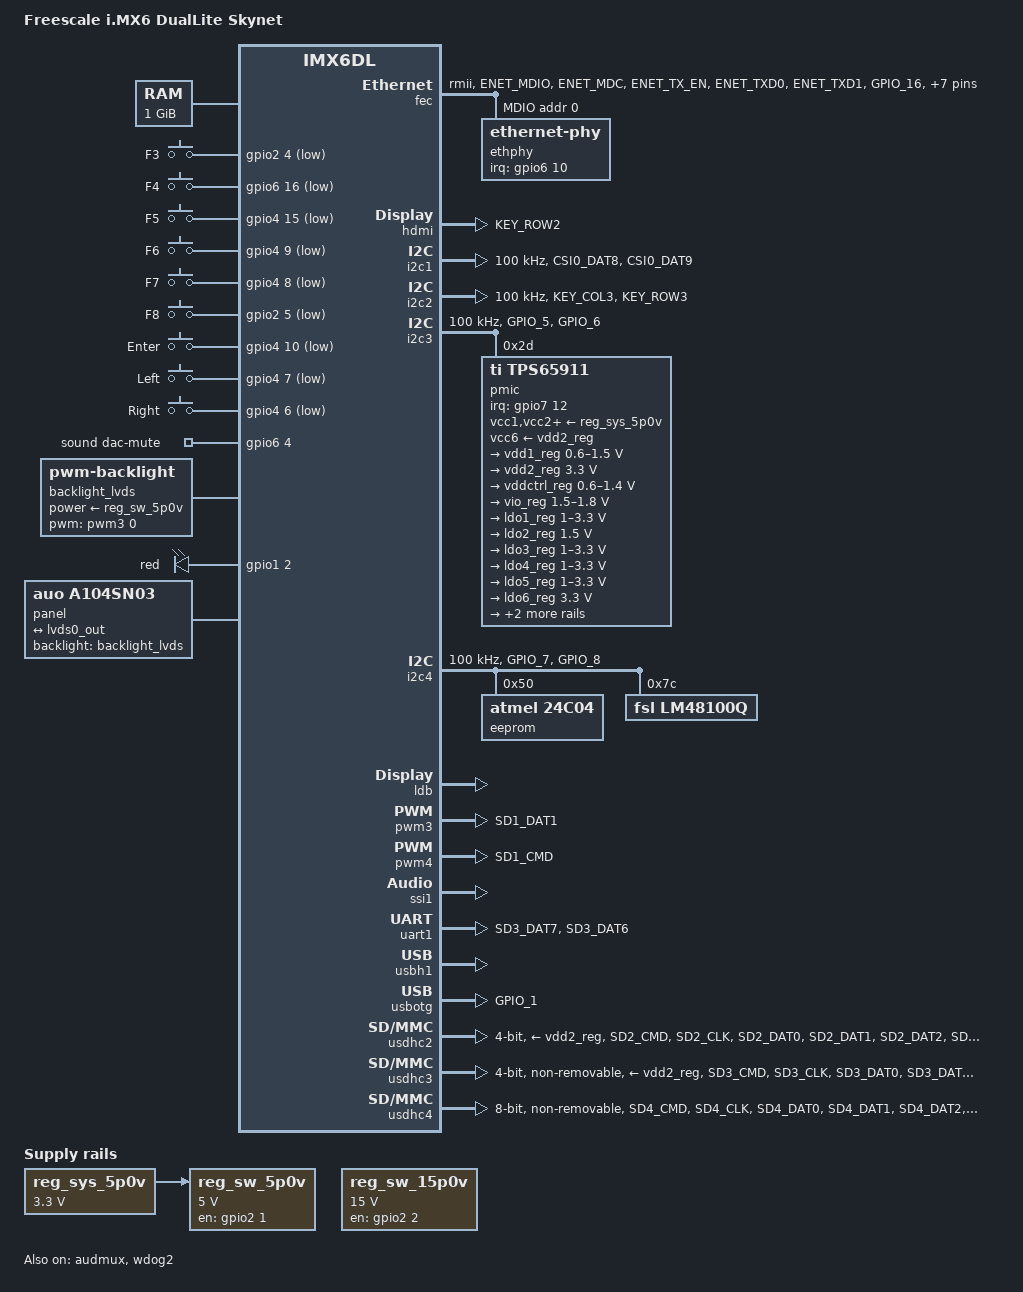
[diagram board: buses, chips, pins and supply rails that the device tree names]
/*
 * Copyright (C) 2018 xlongfeng <xlongfeng@126.com>
 *
 * This program is free software; you can redistribute it and/or modify
 * it under the terms of the GNU General Public License version 2 as
 * published by the Free Software Foundation.
 */

/dts-v1/;

#include <dt-bindings/clock/imx6qdl-clock.h>
#include <dt-bindings/gpio/gpio.h>
#include <dt-bindings/input/input.h>
#include "imx6dl.dtsi"

/ {
	model = "Freescale i.MX6 DualLite Skynet";
	compatible = "fsl,imx6dl-sabresd", "fsl,imx6dl";

	chosen {
		stdout-path = &uart1;
	};

	memory {
		reg = <0x10000000 0x40000000>;
	};

	regulators {
		compatible = "simple-bus";
		#address-cells = <1>;
		#size-cells = <0>;

		reg_sys_5p0v: regulator@0 {
			compatible = "regulator-fixed";
			reg = <0>;
			regulator-name = "sys_5p0v";
			regulator-min-microvolt = <3300000>;
			regulator-max-microvolt = <3300000>;
			regulator-always-on;
		};

		reg_sw_5p0v: regulator@1 {
			compatible = "regulator-fixed";
			reg = <1>;
			pinctrl-names = "default";
			pinctrl-0 = <&pinctrl_reg_5p0v>;
			regulator-name = "sw_5p0v";
			regulator-min-microvolt = <5000000>;
			regulator-max-microvolt = <5000000>;
			regulator-boot-on;
			gpio = <&gpio2 1 GPIO_ACTIVE_HIGH>;
			enable-active-high;
			vin-supply = <&reg_sys_5p0v>;
		};

		reg_sw_15p0v: regulator@2 {
			compatible = "regulator-fixed";
			reg = <2>;
			pinctrl-names = "default";
			pinctrl-0 = <&pinctrl_reg_15p0v>;
			regulator-name = "sw_15p0v";
			regulator-min-microvolt = <15000000>;
			regulator-max-microvolt = <15000000>;
			gpio = <&gpio2 2 GPIO_ACTIVE_HIGH>;
			enable-active-high;
		};
	};

	gpio-keys {
		compatible = "gpio-keys";
		pinctrl-names = "default";
		pinctrl-0 = <&pinctrl_gpio_keys>;

		f3 {
			label = "F3";
			gpios = <&gpio2 4 GPIO_ACTIVE_LOW>;
			linux,code = <KEY_F3>;
		};

		f4 {
			label = "F4";
			gpios = <&gpio6 16 GPIO_ACTIVE_LOW>;
			linux,code = <KEY_F4>;
		};

		f5 {
			label = "F5";
			gpios = <&gpio4 15 GPIO_ACTIVE_LOW>;
			linux,code = <KEY_F5>;
		};

		f6 {
			label = "F6";
			gpios = <&gpio4 9 GPIO_ACTIVE_LOW>;
			linux,code = <KEY_F6>;
			gpio-key,wakeup;
		};

		f7 {
			label = "F7";
			gpios = <&gpio4 8 GPIO_ACTIVE_LOW>;
			linux,code = <KEY_F7>;
		};

		f8 {
			label = "F8";
			gpios = <&gpio2 5 GPIO_ACTIVE_LOW>;
			linux,code = <KEY_F8>;
		};

		enter {
			label = "Enter";
			gpios = <&gpio4 10 GPIO_ACTIVE_LOW>;
			linux,code = <KEY_ENTER>;
		};

		left {
			label = "Left";
			gpios = <&gpio4 7 GPIO_ACTIVE_LOW>;
			linux,code = <KEY_LEFT>;
			disc,left;
			debounce-interval = <0>;
		};

		right {
			label = "Right";
			gpios = <&gpio4 6 GPIO_ACTIVE_LOW>;
			linux,code = <KEY_RIGHT>;
			disc,right;
			debounce-interval = <0>;
		};
	};

	sound {
		compatible = "fsl,imx-audio-pcm1754";
		model = "imx6q-skynet-pcm1754";
		ssi-controller = <&ssi1>;
		audio-codec = <&lm48100q>;
		audio-routing = "Ext Spk", "OUT";
		mux-int-port = <1>;
		mux-ext-port = <3>;
		dac-mute-gpios = <&gpio6 4 GPIO_ACTIVE_HIGH>;
	};

	backlight_lvds: backlight-lvds {
		compatible = "pwm-backlight";
		pwms = <&pwm3 0 5000000>;
		brightness-levels = <0 4 8 16 32 64 128 255>;
		default-brightness-level = <7>;
		power-supply = <&reg_sw_5p0v>;
		status = "okay";
	};

	leds {
		compatible = "gpio-leds";
		pinctrl-names = "default";
		pinctrl-0 = <&pinctrl_gpio_leds>;

		red {
			gpios = <&gpio1 2 0>;
			default-state = "on";
		};
	};

	panel {
		compatible = "auo,a104sn03";
		backlight = <&backlight_lvds>;

		port {
			panel_in: endpoint {
				remote-endpoint = <&lvds0_out>;
			};
		};
	};
};

&audmux {
	pinctrl-names = "default";
	pinctrl-0 = <&pinctrl_audmux>;
	status = "okay";
};

&clks {
	assigned-clocks = <&clks IMX6QDL_CLK_LDB_DI0_SEL>,
			  <&clks IMX6QDL_CLK_LDB_DI1_SEL>;
	assigned-clock-parents = <&clks IMX6QDL_CLK_PLL2_PFD0_352M>,
				 <&clks IMX6QDL_CLK_PLL2_PFD0_352M>;
};

&fec {
	pinctrl-names = "default";
	pinctrl-0 = <&pinctrl_enet>;
	phy-mode = "rmii";
	phy-reset-gpios = <&gpio1 23 GPIO_ACTIVE_LOW>;
	phy-reset-duraion = <2>;
	status = "okay";

	mdio {
		#address-cells = <0>;
		#size-cells = <1>;

		ethphy: ethernet-phy {
			reg = <0>;
			interrupts-extended = <&gpio6 10 IRQ_TYPE_LEVEL_LOW>;
		};
	};
};

&hdmi {
	pinctrl-names = "default";
	pinctrl-0 = <&pinctrl_hdmi_cec>;
	ddc-i2c-bus = <&i2c2>;
	status = "okay";
};

&i2c1 {
	clock-frequency = <100000>;
	pinctrl-names = "default";
	pinctrl-0 = <&pinctrl_i2c1>;
	status = "okay";
};

&i2c2 {
	clock-frequency = <100000>;
	pinctrl-names = "default";
	pinctrl-0 = <&pinctrl_i2c2>;
	status = "okay";
};

&i2c3 {
	clock-frequency = <100000>;
	pinctrl-names = "default";
	pinctrl-0 = <&pinctrl_i2c3>;
	status = "okay";

	pmic: tps65911@2d {
		compatible = "ti,tps65911";
		reg = <0x2d>;
		pinctrl-names = "default";
		pinctrl-0 = <&pinctrl_pmic_int>;

		ti,en-ck32k-xtal;
		/* ti,system-power-controller; */

		interrupt-parent = <&gpio7>;
		interrupts = <12 IRQ_TYPE_LEVEL_LOW>;
		#interrupt-cells = <2>;
		interrupt-controller;


		#gpio-cells = <2>;
		gpio-controller;

		vcc1-supply = <&reg_sys_5p0v>;
		vcc2-supply = <&reg_sys_5p0v>;
		vcc3-supply = <&reg_sys_5p0v>;
		vcc4-supply = <&reg_sys_5p0v>;
		vcc5-supply = <&reg_sys_5p0v>;
		vcc6-supply = <&vdd2_reg>;
		vcc7-supply = <&reg_sys_5p0v>;
		vccio-supply = <&reg_sys_5p0v>;

		regulators {
			#address-cells = <1>;
			#size-cells = <0>;

			vdd1_reg: regulator@0 {
				regulator-compatible = "vdd1";
				reg = <0>;
				regulator-min-microvolt = <600000>;
				regulator-max-microvolt = <1500000>;
				regulator-boot-on;
				regulator-always-on;
			};

			vdd2_reg: regulator@1 {
				regulator-compatible = "vdd2";
				reg = <1>;
				regulator-min-microvolt = <3300000>;
				regulator-max-microvolt = <3300000>;
				regulator-boot-on;
				regulator-always-on;
			};

			vddctrl_reg: regulator@2 {
				regulator-compatible = "vddctrl";
				reg = <2>;
				regulator-min-microvolt = <600000>;
				regulator-max-microvolt = <1400000>;
				regulator-boot-on;
				regulator-always-on;
			};

			vio_reg: regulator@3 {
				regulator-compatible = "vio";
				reg = <3>;
				regulator-min-microvolt = <1500000>;
				regulator-max-microvolt = <1800000>;
				regulator-boot-on;
				regulator-always-on;
			};

			ldo1_reg: regulator@4 {
				regulator-compatible = "ldo1";
				reg = <4>;
				regulator-min-microvolt = <1000000>;
				regulator-max-microvolt = <3300000>;
				regulator-boot-on;
				regulator-always-on;
			};

			ldo2_reg: regulator@5 {
				regulator-compatible = "ldo2";
				reg = <5>;
				regulator-min-microvolt = <1500000>;
				regulator-max-microvolt = <1500000>;
				regulator-boot-on;
				regulator-always-on;
			};

			ldo3_reg: regulator@6 {
				regulator-compatible = "ldo3";
				reg = <6>;
				regulator-min-microvolt = <1000000>;
				regulator-max-microvolt = <3300000>;
			};

			ldo4_reg: regulator@7 {
				regulator-compatible = "ldo4";
				reg = <7>;
				regulator-min-microvolt = <1000000>;
				regulator-max-microvolt = <3300000>;
				regulator-boot-on;
				regulator-always-on;
			};

			ldo5_reg: regulator@8 {
				regulator-compatible = "ldo5";
				reg = <8>;
				regulator-min-microvolt = <1000000>;
				regulator-max-microvolt = <3300000>;
				regulator-boot-on;
				regulator-always-on;
			};

			ldo6_reg: regulator@9 {
				regulator-compatible = "ldo6";
				reg = <9>;
				regulator-min-microvolt = <3300000>;
				regulator-max-microvolt = <3300000>;
				regulator-boot-on;
				regulator-always-on;
			};

			ldo7_reg: regulator@10 {
				regulator-compatible = "ldo7";
				reg = <10>;
				regulator-min-microvolt = <3300000>;
				regulator-max-microvolt = <3300000>;
			};

			ldo8_reg: regulator@11 {
				regulator-compatible = "ldo8";
				reg = <11>;
				regulator-min-microvolt = <1000000>;
				regulator-max-microvolt = <3300000>;
				regulator-boot-on;
				regulator-always-on;
				ti,regulator-ext-sleep-control = <1>;
			};
		};
	};
};

&i2c4 {
	clock-frequency = <100000>;
	pinctrl-names = "default";
	pinctrl-0 = <&pinctrl_i2c4>;
	status = "okay";

	eeprom@50 {
		compatible = "atmel,24c04";
		pagesize = <16>;
		reg = <0x50>;
	};

	lm48100q: lm48100q@7c {
		compatible = "fsl,lm48100q";
		pinctrl-names = "default";
		pinctrl-0 = <&pinctrl_i2c4_lm48100q>;
		reg = <0x7c>;
		clocks = <&clks IMX6QDL_CLK_CKO>,
			 <&clks IMX6QDL_CLK_PLL4_AUDIO_DIV>;
		clock-names = "sck", "pll";
	};
};

&iomuxc {
	pinctrl-names = "default";
	pinctrl-0 = <&pinctrl_hog>;

	imx6qdl-sabresd {
		pinctrl_hog: hoggrp {
			fsl,pins = <
				MX6QDL_PAD_NANDF_D0__GPIO2_IO00 0x1b0b0
			>;
		};

		pinctrl_backlight_lcd: backlight_lcdgrp {
			fsl,pins = <
#define GP_BACKLIGHT_LCD_ENABLE	<&gpio6 2 GPIO_ACTIVE_HIGH>
				MX6QDL_PAD_CSI0_DAT16__GPIO6_IO02	0x0b0b0
			>;
		};

		pinctrl_backlight_lvds: backlight_lvdsgrp {
			fsl,pins = <
#define GP_BACKLIGHT_LVDS_ENABLE	<&gpio3 9 GPIO_ACTIVE_HIGH>
				MX6QDL_PAD_EIM_DA9__GPIO3_IO09		0x0b0b0
			>;
		};

		pinctrl_reg_5p0v: reg_5p0vgrp {
			fsl,pins = <
				MX6QDL_PAD_NANDF_D1__GPIO2_IO01		0x030b0
			>;
		};

		pinctrl_reg_15p0v: reg_15p0vgrp {
			fsl,pins = <
				MX6QDL_PAD_NANDF_D2__GPIO2_IO02		0x030b0
			>;
		};

		pinctrl_pmic_int: pmic_intgrp {
			fsl,pins = <
				MX6QDL_PAD_GPIO_17__GPIO7_IO12		0x80000000
			>;
		};

		pinctrl_audmux: audmuxgrp {
			fsl,pins = <
				MX6QDL_PAD_CSI0_DAT7__AUD3_RXD		0x130b0
				MX6QDL_PAD_CSI0_DAT4__AUD3_TXC		0x130b0
				MX6QDL_PAD_CSI0_DAT5__AUD3_TXD		0x110b0
				MX6QDL_PAD_CSI0_DAT6__AUD3_TXFS		0x130b0
				MX6QDL_PAD_CSI0_DAT18__GPIO6_IO04	0x1b030
				MX6QDL_PAD_CSI0_DAT19__GPIO6_IO05	0x1b030
			>;
		};

		pinctrl_enet: enetgrp {
			fsl,pins = <
				MX6QDL_PAD_ENET_MDIO__ENET_MDIO		0x1b090
				MX6QDL_PAD_ENET_MDC__ENET_MDC		0x1b090
				MX6QDL_PAD_ENET_TX_EN__ENET_TX_EN	0x1b090
				MX6QDL_PAD_ENET_TXD0__ENET_TX_DATA0	0x1b090
				MX6QDL_PAD_ENET_TXD1__ENET_TX_DATA1	0x1b090
				MX6QDL_PAD_GPIO_16__ENET_REF_CLK	0x40010090
				MX6QDL_PAD_ENET_CRS_DV__ENET_RX_EN	0x10090
				MX6QDL_PAD_ENET_RXD0__ENET_RX_DATA0	0x1b090
				MX6QDL_PAD_ENET_RXD1__ENET_RX_DATA1	0x1b090
				MX6QDL_PAD_ENET_RX_ER__ENET_RX_ER	0x1b090
				MX6QDL_PAD_ENET_REF_CLK__GPIO1_IO23	0x030b0
				MX6QDL_PAD_NANDF_RB0__GPIO6_IO10	0x1b0b0
			>;
		};

		pinctrl_gpio_keys: gpio_keysgrp {
			fsl,pins = <
				MX6QDL_PAD_NANDF_D4__GPIO2_IO04		0x17000
				MX6QDL_PAD_NANDF_CS3__GPIO6_IO16	0x17000
				MX6QDL_PAD_KEY_ROW4__GPIO4_IO15		0x17000
				MX6QDL_PAD_KEY_ROW1__GPIO4_IO09		0x17000
				MX6QDL_PAD_KEY_COL1__GPIO4_IO08		0x17000
				MX6QDL_PAD_NANDF_D5__GPIO2_IO05		0x17000
				MX6QDL_PAD_KEY_COL2__GPIO4_IO10		0x17000
				MX6QDL_PAD_KEY_COL0__GPIO4_IO06		0x17000
				MX6QDL_PAD_KEY_ROW0__GPIO4_IO07		0x17000
			>;
		};

		pinctrl_hdmi_cec: hdmicecgrp {
			fsl,pins = <
				MX6QDL_PAD_KEY_ROW2__HDMI_TX_CEC_LINE	0x1f8b0
			>;
		};

		pinctrl_i2c1: i2c1grp {
			fsl,pins = <
				MX6QDL_PAD_CSI0_DAT8__I2C1_SDA		0x4001b8b1
				MX6QDL_PAD_CSI0_DAT9__I2C1_SCL		0x4001b8b1
			>;
		};

		pinctrl_i2c2: i2c2grp {
			fsl,pins = <
				MX6QDL_PAD_KEY_COL3__I2C2_SCL		0x4001b8b1
				MX6QDL_PAD_KEY_ROW3__I2C2_SDA		0x4001b8b1
			>;
		};

		pinctrl_i2c3: i2c3grp {
			fsl,pins = <
				MX6QDL_PAD_GPIO_5__I2C3_SCL		0x4001b8b1
				MX6QDL_PAD_GPIO_6__I2C3_SDA		0x4001b8b1
			>;
		};

		pinctrl_i2c4: i2c4grp {
			fsl,pins = <
				MX6QDL_PAD_GPIO_7__I2C4_SCL		0x4001b8b1
				MX6QDL_PAD_GPIO_8__I2C4_SDA		0x4001b8b1
			>;
		};

		pinctrl_i2c4_lm48100q: i2c4-lm48100qgrp {
			fsl,pins = <
				MX6QDL_PAD_CSI0_DATA_EN__GPIO5_IO20	0x1b030
				MX6QDL_PAD_GPIO_0__CCM_CLKO1		0x00088		/* sys_mclk */
			>;
		};

		pinctrl_pwm3: pwm3grp {
			fsl,pins = <
				MX6QDL_PAD_SD1_DAT1__PWM3_OUT		0x1b0b1
			>;
		};

		pinctrl_pwm4: pwm4grp {
			fsl,pins = <
				MX6QDL_PAD_SD1_CMD__PWM4_OUT		0x1b0b1
			>;
		};

		pinctrl_uart1: uart1grp {
			fsl,pins = <
				MX6QDL_PAD_SD3_DAT7__UART1_TX_DATA	0x1b0b1
				MX6QDL_PAD_SD3_DAT6__UART1_RX_DATA	0x1b0b1
			>;
		};

		pinctrl_usbotg: usbotggrp {
			fsl,pins = <
				MX6QDL_PAD_GPIO_1__USB_OTG_ID		0x17059
			>;
		};

		pinctrl_usdhc2: usdhc2grp {
			fsl,pins = <
				MX6QDL_PAD_SD2_CMD__SD2_CMD		0x17059
				MX6QDL_PAD_SD2_CLK__SD2_CLK		0x10059
				MX6QDL_PAD_SD2_DAT0__SD2_DATA0		0x17059
				MX6QDL_PAD_SD2_DAT1__SD2_DATA1		0x17059
				MX6QDL_PAD_SD2_DAT2__SD2_DATA2		0x17059
				MX6QDL_PAD_SD2_DAT3__SD2_DATA3		0x17059
				MX6QDL_PAD_GPIO_4__GPIO1_IO04		0x1b0b0
			>;
		};

		pinctrl_usdhc3: usdhc3grp {
			fsl,pins = <
				MX6QDL_PAD_SD3_CMD__SD3_CMD		0x17059
				MX6QDL_PAD_SD3_CLK__SD3_CLK		0x10059
				MX6QDL_PAD_SD3_DAT0__SD3_DATA0		0x17059
				MX6QDL_PAD_SD3_DAT1__SD3_DATA1		0x17059
				MX6QDL_PAD_SD3_DAT2__SD3_DATA2		0x17059
				MX6QDL_PAD_SD3_DAT3__SD3_DATA3		0x17059
			>;
		};

		pinctrl_usdhc4: usdhc4grp {
			fsl,pins = <
				MX6QDL_PAD_SD4_CMD__SD4_CMD		0x17059
				MX6QDL_PAD_SD4_CLK__SD4_CLK		0x10059
				MX6QDL_PAD_SD4_DAT0__SD4_DATA0		0x17059
				MX6QDL_PAD_SD4_DAT1__SD4_DATA1		0x17059
				MX6QDL_PAD_SD4_DAT2__SD4_DATA2		0x17059
				MX6QDL_PAD_SD4_DAT3__SD4_DATA3		0x17059
				MX6QDL_PAD_SD4_DAT4__SD4_DATA4		0x17059
				MX6QDL_PAD_SD4_DAT5__SD4_DATA5		0x17059
				MX6QDL_PAD_SD4_DAT6__SD4_DATA6		0x17059
				MX6QDL_PAD_SD4_DAT7__SD4_DATA7		0x17059
			>;
		};

		pinctrl_wdog: wdoggrp {
			fsl,pins = <
				MX6QDL_PAD_GPIO_9__WDOG1_B		0x1b0b0
				MX6QDL_PAD_SD1_DAT3__WDOG2_B		0x1b0b0
			>;
		};
	};

	gpio_leds {
		pinctrl_gpio_leds: gpioledsgrp {
			fsl,pins = <
				MX6QDL_PAD_GPIO_2__GPIO1_IO02 0x1b0b0
			>;
		};
	};
};

&ldb {
	status = "okay";

	lvds-channel@0 {
		fsl,data-mapping = "spwg";
		fsl,data-width = <18>;
		status = "okay";

		port@4 {
			reg = <4>;

			lvds0_out: endpoint {
				remote-endpoint = <&panel_in>;
			};
		};
	};
};

&pwm3 {
	pinctrl-names = "default";
	pinctrl-0 = <&pinctrl_pwm3>;
	status = "okay";
};

&pwm4 {
	pinctrl-names = "default";
	pinctrl-0 = <&pinctrl_pwm4>;
	status = "okay";
};

&reg_arm {
	vin-supply = <&vddctrl_reg>;
};

&reg_pu {
	vin-supply = <&vddctrl_reg>;
};

&reg_soc {
	vin-supply = <&vddctrl_reg>;
};

&snvs_poweroff {
	status = "okay";
};

&ssi1 {
	fsl,mode = "i2s-master";
	status = "okay";
};

&uart1 {
	pinctrl-names = "default";
	pinctrl-0 = <&pinctrl_uart1>;
	status = "okay";
};

&usbh1 {
	power-supply = <&reg_sw_5p0v>;
	status = "okay";
};

&usbotg {
	pinctrl-names = "default";
	pinctrl-0 = <&pinctrl_usbotg>;
	disable-over-current;
	status = "okay";
};

&usdhc2 {
	pinctrl-names = "default";
	pinctrl-0 = <&pinctrl_usdhc2>;
	bus-width = <4>;
	cd-gpios = <&gpio1 4 GPIO_ACTIVE_LOW>;
	vmmc-supply = <&vdd2_reg>;
	status = "okay";
};

&usdhc3 {
	pinctrl-names = "default";
	pinctrl-0 = <&pinctrl_usdhc3>;
	bus-width = <4>;
	non-removable;
	vmmc-supply = <&vdd2_reg>;
	cap-power-off-card;
	keep-power-in-suspend;
	status = "okay";
};

&usdhc4 {
	pinctrl-names = "default";
	pinctrl-0 = <&pinctrl_usdhc4>;
	bus-width = <8>;
	non-removable;
	no-1-8-v;
	status = "okay";
};

&wdog1 {
	status = "disabled";
};

&wdog2 {
	pinctrl-names = "default";
	pinctrl-0 = <&pinctrl_wdog>;
	fsl,ext-reset-output;
	status = "okay";
};
